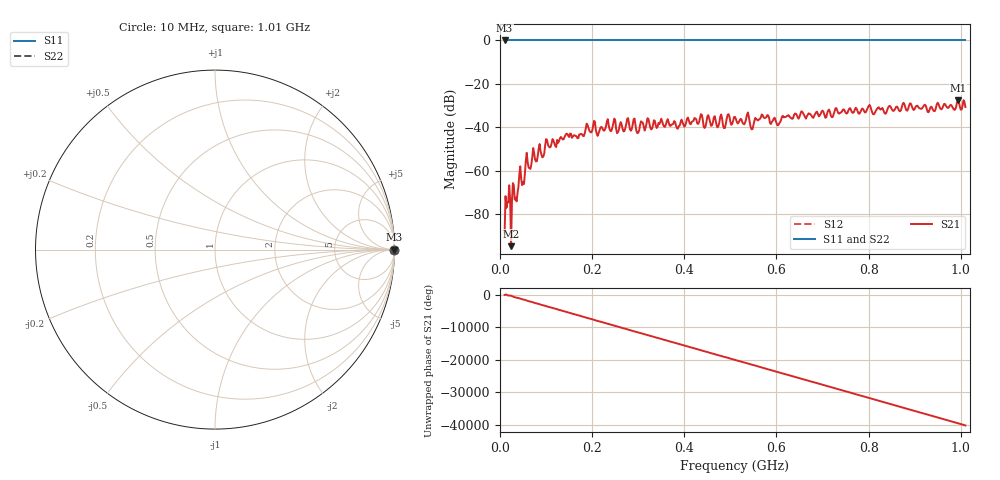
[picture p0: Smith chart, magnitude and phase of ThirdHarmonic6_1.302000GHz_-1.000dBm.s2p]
! 8/16/2025 2:20:15 PM
! C:\ANRITSUVNA\TEMP\TEMP.S2P
! CHANNEL.1
! TR.MEASUREMENT
! RAW.DATA
! RF.CORRECTION.OFF
! AVERAGING.OFF
! IF.BANDWIDTH: 5KHZ
! SWEEPTYPE:  FREQ.SWEEP(Linear)
! Reference Plane Port Info
! PORT:  PORT1  PORT2
! DISTANCE:  0  m  0  m
! TIME:  0  s  0  s
! PHASE.OFFSET:  0  deg.  0  deg.
! LOSS:  0  dB  0  dB
! REF.LOSS:  0  dB  0  dB
! REF.FREQ:  0  Hz  0  Hz
! Power Info
! POWER:  -20  dBm  -20  dBm
! EFF.POWER:  -20  dBm  -20  dBm
! SOURCE.ATTEN:  0  dB  0  dB
! TEST.ATTEN:  0  dB  0  dB
# GHZ S RI R 50.0
! FREQ.GHZ  S11RE  S11IM  S21RE  S21IM  S12RE  S12IM  S22RE  S22IM
!; PortSelection: Port_12
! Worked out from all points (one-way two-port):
!   501 points, 10 MHz to 1.01 GHz, reference 50 ohm
!   highest |S21| = -27.54 dB at 994 MHz (marker M1); lowest = -94.9 dB at 24 MHz (marker M2)
!   lowest |S11| = 0.0 dB at 10 MHz (marker M3)
!   |S11| at or under -10 dB: nowhere
!   |S22| runs from 0.0 to 0.0 dB; largest |S21 - S12| = 1
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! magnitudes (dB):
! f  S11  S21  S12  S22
! 10 MHz  0.0  -89.1  0.0  0.0
! 24 MHz  0.0  -94.9  0.0  0.0
! 36 MHz  0.0  -74.3  0.0  0.0
! 42 MHz  0.0  -61.8  0.0  0.0
! 50 MHz  0.0  -65.3  0.0  0.0
! 58 MHz  0.0  -51.8  0.0  0.0
! 92 MHz  0.0  -53.9  0.0  0.0
! 102 MHz  0.0  -45.8  0.0  0.0
! 178 MHz  0.0  -43.3  0.0  0.0
! 204 MHz  0.0  -37.1  0.0  0.0
! 212 MHz  0.0  -44.0  0.0  0.0
! 232 MHz  0.0  -37.4  0.0  0.0
! 344 MHz  0.0  -38.1  0.0  0.0
! 510 MHz  0.0  -35.3  0.0  0.0
! 538 MHz  0.0  -33.2  0.0  0.0
! 546 MHz  0.0  -41.0  0.0  0.0
! 570 MHz  0.0  -34.4  0.0  0.0
! 604 MHz  0.0  -39.1  0.0  0.0
! 678 MHz  0.0  -35.4  0.0  0.0
! 844 MHz  0.0  -30.4  0.0  0.0
! 994 MHz  0.0  -27.5  0.0  0.0
! 1.01 GHz  0.0  -30.7  0.0  0.0
